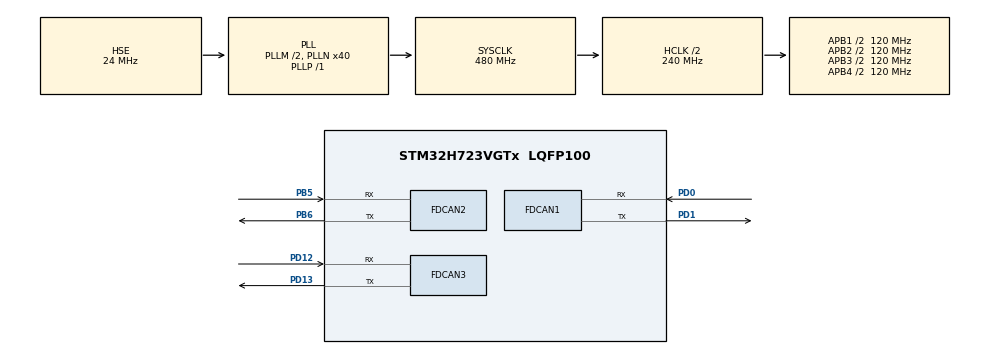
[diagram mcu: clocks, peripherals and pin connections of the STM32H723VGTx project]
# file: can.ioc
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CORTEX_M7.default_mode_Activation=1
FDCAN1.CalculateBaudRateNominal=1000000
FDCAN1.CalculateTimeBitNominal=1000
FDCAN1.CalculateTimeQuantumNominal=50.0
FDCAN1.ExtFiltersNbr=0
FDCAN1.Mode=FDCAN_MODE_NORMAL
FDCAN1.NominalPrescaler=4
FDCAN1.NominalTimeSeg1=14
FDCAN1.NominalTimeSeg2=5
FDCAN1.RxFifo0ElmtsNbr=8
FDCAN1.StdFiltersNbr=3
FDCAN1.TxFifoQueueElmtsNbr=8
FDCAN2.CalculateBaudRateNominal=1000000
FDCAN2.CalculateTimeBitNominal=1000
FDCAN2.CalculateTimeQuantumNominal=50.0
FDCAN2.ExtFiltersNbr=0
FDCAN2.NominalPrescaler=4
FDCAN2.NominalTimeSeg1=14
FDCAN2.NominalTimeSeg2=5
FDCAN2.RxFifo0ElmtsNbr=8
FDCAN2.StdFiltersNbr=3
FDCAN2.TxFifoQueueElmtsNbr=8
FDCAN3.CalculateBaudRateNominal=1000000
FDCAN3.CalculateTimeBitNominal=1000
FDCAN3.CalculateTimeQuantumNominal=50.0
FDCAN3.ExtFiltersNbr=0
FDCAN3.NominalPrescaler=4
FDCAN3.NominalTimeSeg1=14
FDCAN3.NominalTimeSeg2=5
FDCAN3.RxFifo0ElmtsNbr=8
FDCAN3.StdFiltersNbr=3
FDCAN3.TxFifoQueueElmtsNbr=8
Mcu.Family=STM32H7
Mcu.Name=STM32H723VGTx
Mcu.Package=LQFP100
NVIC.FDCAN1_IT0_IRQn=true\:0\:0\:false\:false\:true\:true\:true\:true
NVIC.FDCAN2_IT0_IRQn=true\:0\:0\:false\:false\:true\:true\:true\:true
NVIC.FDCAN3_IT0_IRQn=true\:0\:0\:false\:false\:true\:true\:true\:true
NVIC.PriorityGroup=NVIC_PRIORITYGROUP_4
NVIC.TIM6_DAC_IRQn=true\:0\:0\:false\:false\:true\:true\:true\:true
PA13(JTMS/SWDIO).Mode=Serial_Wire
PA13(JTMS/SWDIO).Signal=DEBUG_JTMS-SWDIO
PA14(JTCK/SWCLK).Mode=Serial_Wire
PA14(JTCK/SWCLK).Signal=DEBUG_JTCK-SWCLK
PB5.Mode=FDCAN_Activate
PB5.Signal=FDCAN2_RX
PB6.Mode=FDCAN_Activate
PB6.Signal=FDCAN2_TX
PD0.Mode=FDCAN_Activate
PD0.Signal=FDCAN1_RX
PD1.Mode=FDCAN_Activate
PD1.Signal=FDCAN1_TX
PD12.Mode=FDCAN_Activate
PD12.Signal=FDCAN3_RX
PD13.Mode=FDCAN_Activate
PD13.Signal=FDCAN3_TX
PH0-OSC_IN.Mode=HSE-External-Oscillator
PH0-OSC_IN.Signal=RCC_OSC_IN
PH1-OSC_OUT.Mode=HSE-External-Oscillator
PH1-OSC_OUT.Signal=RCC_OSC_OUT
ProjectManager.HeapSize=0x200
ProjectManager.StackSize=0x400
ProjectManager.TargetToolchain=MDK-ARM V5.32
RCC.ADCFreq_Value=48375000
RCC.APB1Freq_Value=120000000
RCC.APB2Freq_Value=120000000
RCC.APB3Freq_Value=120000000
RCC.APB4Freq_Value=120000000
RCC.CortexFreq_Value=480000000
RCC.D1PPRE=RCC_APB3_DIV2
RCC.D2PPRE1=RCC_APB1_DIV2
RCC.D2PPRE2=RCC_APB2_DIV2
RCC.D3PPRE=RCC_APB4_DIV2
RCC.DIVM1=2
RCC.DIVN1=40
RCC.DIVP1=1
RCC.DIVQ1=6
RCC.HCLKFreq_Value=240000000
RCC.HPRE=RCC_HCLK_DIV2
RCC.HSE_VALUE=24000000
RCC.PLLFRACN=0
RCC.PLLSourceVirtual=RCC_PLLSOURCE_HSE
RCC.SYSCLKFreq_VALUE=480000000
RCC.SYSCLKSource=RCC_SYSCLKSOURCE_PLLCLK
RCC.USBFreq_Value=80000000
TIM6.Period=999
TIM6.Prescaler=239
VP_MEMORYMAP_VS_MEMORYMAP.Mode=CurAppReg
VP_TIM6_VS_ClockSourceINT.Mode=Enable_Timer
board=custom

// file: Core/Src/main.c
/* USER CODE BEGIN Header */
/**
  ******************************************************************************
  * @file           : main.c
  * @brief          : Main program body
  ******************************************************************************
  * @attention
  *
  * Copyright (c) 2026 STMicroelectronics.
  * All rights reserved.
  *
  * This software is licensed under terms that can be found in the LICENSE file
  * in the root directory of this software component.
  * If no LICENSE file comes with this software, it is provided AS-IS.
  *
  ******************************************************************************
  */
/* USER CODE END Header */
#include "main.h"

/* USER CODE BEGIN Includes */
#include "pid_speed/pid_speed.h"
#include "pid_angle/pid_angle.h"

/* USER CODE END Includes */

/* USER CODE BEGIN PTD */
typedef struct{
  int8_t temperature;
  int16_t iq;
  int16_t speed;
  int16_t encoder;
  uint8_t cmd_echo;
}LingKong_Motor_t;

typedef struct{
  uint16_t angle;
  int16_t speed_rpm;
  int16_t current;
  uint8_t temperature;
}RM3508_Feedback_t;

/* PID 结构体已移到 pid_speed/pid_speed.h 和 pid_angle/pid_angle.h */
/* USER CODE END PTD */

/* USER CODE BEGIN PD */
/* 电机 ID - 1：ID1 用 0，ID2 用 1，ID3 用 2 */
#define MOTOR_INDEX   0U

/* PID 模式：只调用一路，避免角度环和速度环同时抢 motor_target_current。
   PID_MODE_ANGLE：角度环 -> 速度环 串级
   PID_MODE_SPEED：只用速度环，目标转速是 g_target_rpm */
#define PID_MODE_ANGLE   1
#define PID_MODE_SPEED   2
#define PID_MODE         PID_MODE_SPEED

/* ---- 目标设定：只改这里 ---- */
#define TARGET_ANGLE_DEG   0.0f      /* 角度模式目标：转子角度 deg（0~360） */
#define TARGET_SPEED_RPM   1000.0f   /* 速度模式目标：转子 rpm */
/* USER CODE END PD */

FDCAN_HandleTypeDef hfdcan1;
FDCAN_HandleTypeDef hfdcan2;
FDCAN_HandleTypeDef hfdcan3;

TIM_HandleTypeDef htim6;

/* USER CODE BEGIN PV */
FDCAN_HandleTypeDef hfdcan1;
FDCAN_HandleTypeDef hfdcan2;
FDCAN_HandleTypeDef hfdcan3;

TIM_HandleTypeDef htim6;

LingKong_Motor_t motor1,motor2,motor3;
RM3508_Feedback_t motor_fb[3];

/* 目标变量：定义在主程序，pid_angle/pid_speed 通过 extern 使用 */
volatile float    g_target_deg = TARGET_ANGLE_DEG; /* 角度模式目标 deg */
volatile float    g_target_rpm = TARGET_SPEED_RPM; /* 速度模式目标 rpm */

volatile uint32_t g_fb_tick = 0;       /* 最近一次收到 0x201 的时刻 */
volatile uint8_t  g_fb_valid = 0;      /* 收到过反馈才允许起环 */

int16_t motor_target_current[4] = {0,0,0,0};

/* USER CODE END PV */

void SystemClock_Config(void);
static void MPU_Config(void);
static void MX_GPIO_Init(void);
static void MX_FDCAN1_Init(void);
static void MX_FDCAN2_Init(void);
static void MX_FDCAN3_Init(void);
static void MX_TIM6_Init(void);
/* USER CODE BEGIN PFP */
void fdcan_init(FDCAN_FilterTypeDef *fdcan_filter,FDCAN_HandleTypeDef *hfdcan);
void fdcan_filter_init(void);
void LingKong_Send_Cmd(FDCAN_HandleTypeDef *hfdcan,uint8_t motor_id,uint8_t cmd,int32_t value);
void RM3508_Send_All(FDCAN_HandleTypeDef *hfdcan);
void HAL_FDCAN_RxFifo0Callback(FDCAN_HandleTypeDef *hfdcan, uint32_t RxFifo0ITs);

/* USER CODE END PFP */

int main(void)
{

  /* MPU Configuration--------------------------------------------------------*/
  MPU_Config();

  /* MCU Configuration--------------------------------------------------------*/

  /* Reset of all peripherals, Initializes the Flash interface and the Systick. */
  HAL_Init();

  /* Configure the system clock */
  SystemClock_Config();

  /* Initialize all configured peripherals */
  MX_GPIO_Init();
  MX_FDCAN1_Init();
  MX_FDCAN2_Init();
  MX_FDCAN3_Init();
  MX_TIM6_Init();
  /* USER CODE BEGIN 2 */
  /* ---- 目标设定：角度模式用 g_target_deg，速度模式用 g_target_rpm ---- */
  g_target_deg = TARGET_ANGLE_DEG;
  g_target_rpm = TARGET_SPEED_RPM;

  SpeedPID_Init(&g_pid);
#if (PID_MODE == PID_MODE_ANGLE)
  AnglePID_Init(&g_angle_pid);
#endif
  fdcan_filter_init();
  HAL_TIM_Base_Start_IT(&htim6);
  RM3508_Send_All(&hfdcan1);
  RM3508_Send_All(&hfdcan2);
  RM3508_Send_All(&hfdcan3);

  /* USER CODE END 2 */

  /* Infinite loop */
  while (1)
  {

    /* USER CODE BEGIN 3 */
    /* 速度环在 TIM6 中断里运行，主循环留空 */
  }
  /* USER CODE END 3 */
}

void SystemClock_Config(void)
{
  RCC_OscInitTypeDef RCC_OscInitStruct = {0};
  RCC_ClkInitTypeDef RCC_ClkInitStruct = {0};

  /** Supply configuration update enable
  */
  HAL_PWREx_ConfigSupply(PWR_LDO_SUPPLY);

  /** Configure the main internal regulator output voltage
  */
  __HAL_PWR_VOLTAGESCALING_CONFIG(PWR_REGULATOR_VOLTAGE_SCALE0);

  while(!__HAL_PWR_GET_FLAG(PWR_FLAG_VOSRDY)) {}

  /** Initializes the RCC Oscillators according to the specified parameters
  * in the RCC_OscInitTypeDef structure.
  */
  RCC_OscInitStruct.OscillatorType = RCC_OSCILLATORTYPE_HSE;
  RCC_OscInitStruct.HSEState = RCC_HSE_ON;
  RCC_OscInitStruct.PLL.PLLState = RCC_PLL_ON;
  RCC_OscInitStruct.PLL.PLLSource = RCC_PLLSOURCE_HSE;
  RCC_OscInitStruct.PLL.PLLM = 2;
  RCC_OscInitStruct.PLL.PLLN = 40;
  RCC_OscInitStruct.PLL.PLLP = 1;
  RCC_OscInitStruct.PLL.PLLQ = 6;
  RCC_OscInitStruct.PLL.PLLR = 2;
  RCC_OscInitStruct.PLL.PLLRGE = RCC_PLL1VCIRANGE_3;
  RCC_OscInitStruct.PLL.PLLVCOSEL = RCC_PLL1VCOWIDE;
  RCC_OscInitStruct.PLL.PLLFRACN = 0;
  if (HAL_RCC_OscConfig(&RCC_OscInitStruct) != HAL_OK)
  {
    Error_Handler();
  }

  /** Initializes the CPU, AHB and APB buses clocks
  */
  RCC_ClkInitStruct.ClockType = RCC_CLOCKTYPE_HCLK|RCC_CLOCKTYPE_SYSCLK
                              |RCC_CLOCKTYPE_PCLK1|RCC_CLOCKTYPE_PCLK2
                              |RCC_CLOCKTYPE_D3PCLK1|RCC_CLOCKTYPE_D1PCLK1;
  RCC_ClkInitStruct.SYSCLKSource = RCC_SYSCLKSOURCE_PLLCLK;
  RCC_ClkInitStruct.SYSCLKDivider = RCC_SYSCLK_DIV1;
  RCC_ClkInitStruct.AHBCLKDivider = RCC_HCLK_DIV2;
  RCC_ClkInitStruct.APB3CLKDivider = RCC_APB3_DIV2;
  RCC_ClkInitStruct.APB1CLKDivider = RCC_APB1_DIV2;
  RCC_ClkInitStruct.APB2CLKDivider = RCC_APB2_DIV2;
  RCC_ClkInitStruct.APB4CLKDivider = RCC_APB4_DIV2;

  if (HAL_RCC_ClockConfig(&RCC_ClkInitStruct, FLASH_LATENCY_3) != HAL_OK)
  {
    Error_Handler();
  }
}

static void MX_FDCAN1_Init(void)
{

  hfdcan1.Instance = FDCAN1;
  hfdcan1.Init.FrameFormat = FDCAN_FRAME_CLASSIC;
  hfdcan1.Init.Mode = FDCAN_MODE_NORMAL;
  hfdcan1.Init.AutoRetransmission = DISABLE;
  hfdcan1.Init.TransmitPause = DISABLE;
  hfdcan1.Init.ProtocolException = DISABLE;
  hfdcan1.Init.NominalPrescaler = 4;
  hfdcan1.Init.NominalSyncJumpWidth = 1;
  hfdcan1.Init.NominalTimeSeg1 = 14;
  hfdcan1.Init.NominalTimeSeg2 = 5;
  hfdcan1.Init.DataPrescaler = 1;
  hfdcan1.Init.DataSyncJumpWidth = 1;
  hfdcan1.Init.DataTimeSeg1 = 1;
  hfdcan1.Init.DataTimeSeg2 = 1;
  hfdcan1.Init.MessageRAMOffset = 0;
  hfdcan1.Init.StdFiltersNbr = 3;
  hfdcan1.Init.ExtFiltersNbr = 0;
  hfdcan1.Init.RxFifo0ElmtsNbr = 8;
  hfdcan1.Init.RxFifo0ElmtSize = FDCAN_DATA_BYTES_8;
  hfdcan1.Init.RxFifo1ElmtsNbr = 0;
  hfdcan1.Init.RxFifo1ElmtSize = FDCAN_DATA_BYTES_8;
  hfdcan1.Init.RxBuffersNbr = 0;
  hfdcan1.Init.RxBufferSize = FDCAN_DATA_BYTES_8;
  hfdcan1.Init.TxEventsNbr = 0;
  hfdcan1.Init.TxBuffersNbr = 0;
  hfdcan1.Init.TxFifoQueueElmtsNbr = 8;
  hfdcan1.Init.TxFifoQueueMode = FDCAN_TX_FIFO_OPERATION;
  hfdcan1.Init.TxElmtSize = FDCAN_DATA_BYTES_8;
  if (HAL_FDCAN_Init(&hfdcan1) != HAL_OK)
  {
    Error_Handler();
  }

}

static void MX_FDCAN2_Init(void)
{

  hfdcan2.Instance = FDCAN2;
  hfdcan2.Init.FrameFormat = FDCAN_FRAME_CLASSIC;
  hfdcan2.Init.Mode = FDCAN_MODE_NORMAL;
  hfdcan2.Init.AutoRetransmission = DISABLE;
  hfdcan2.Init.TransmitPause = DISABLE;
  hfdcan2.Init.ProtocolException = DISABLE;
  hfdcan2.Init.NominalPrescaler = 4;
  hfdcan2.Init.NominalSyncJumpWidth = 1;
  hfdcan2.Init.NominalTimeSeg1 = 14;
  hfdcan2.Init.NominalTimeSeg2 = 5;
  hfdcan2.Init.DataPrescaler = 1;
  hfdcan2.Init.DataSyncJumpWidth = 1;
  hfdcan2.Init.DataTimeSeg1 = 1;
  hfdcan2.Init.DataTimeSeg2 = 1;
  hfdcan2.Init.MessageRAMOffset = 0;
  hfdcan2.Init.StdFiltersNbr = 3;
  hfdcan2.Init.ExtFiltersNbr = 0;
  hfdcan2.Init.RxFifo0ElmtsNbr = 8;
  hfdcan2.Init.RxFifo0ElmtSize = FDCAN_DATA_BYTES_8;
  hfdcan2.Init.RxFifo1ElmtsNbr = 0;
  hfdcan2.Init.RxFifo1ElmtSize = FDCAN_DATA_BYTES_8;
  hfdcan2.Init.RxBuffersNbr = 0;
  hfdcan2.Init.RxBufferSize = FDCAN_DATA_BYTES_8;
  hfdcan2.Init.TxEventsNbr = 0;
  hfdcan2.Init.TxBuffersNbr = 0;
  hfdcan2.Init.TxFifoQueueElmtsNbr = 8;
  hfdcan2.Init.TxFifoQueueMode = FDCAN_TX_FIFO_OPERATION;
  hfdcan2.Init.TxElmtSize = FDCAN_DATA_BYTES_8;
  if (HAL_FDCAN_Init(&hfdcan2) != HAL_OK)
  {
    Error_Handler();
  }

}

static void MX_FDCAN3_Init(void)
{

  hfdcan3.Instance = FDCAN3;
  hfdcan3.Init.FrameFormat = FDCAN_FRAME_CLASSIC;
  hfdcan3.Init.Mode = FDCAN_MODE_NORMAL;
  hfdcan3.Init.AutoRetransmission = DISABLE;
  hfdcan3.Init.TransmitPause = DISABLE;
  hfdcan3.Init.ProtocolException = DISABLE;
  hfdcan3.Init.NominalPrescaler = 4;
  hfdcan3.Init.NominalSyncJumpWidth = 1;
  hfdcan3.Init.NominalTimeSeg1 = 14;
  hfdcan3.Init.NominalTimeSeg2 = 5;
  hfdcan3.Init.DataPrescaler = 1;
  hfdcan3.Init.DataSyncJumpWidth = 1;
  hfdcan3.Init.DataTimeSeg1 = 1;
  hfdcan3.Init.DataTimeSeg2 = 1;
  hfdcan3.Init.MessageRAMOffset = 0;
  hfdcan3.Init.StdFiltersNbr = 3;
  hfdcan3.Init.ExtFiltersNbr = 0;
  hfdcan3.Init.RxFifo0ElmtsNbr = 8;
  hfdcan3.Init.RxFifo0ElmtSize = FDCAN_DATA_BYTES_8;
  hfdcan3.Init.RxFifo1ElmtsNbr = 0;
  hfdcan3.Init.RxFifo1ElmtSize = FDCAN_DATA_BYTES_8;
  hfdcan3.Init.RxBuffersNbr = 0;
  hfdcan3.Init.RxBufferSize = FDCAN_DATA_BYTES_8;
  hfdcan3.Init.TxEventsNbr = 0;
  hfdcan3.Init.TxBuffersNbr = 0;
  hfdcan3.Init.TxFifoQueueElmtsNbr = 8;
  hfdcan3.Init.TxFifoQueueMode = FDCAN_TX_FIFO_OPERATION;
  hfdcan3.Init.TxElmtSize = FDCAN_DATA_BYTES_8;
  if (HAL_FDCAN_Init(&hfdcan3) != HAL_OK)
  {
    Error_Handler();
  }

}

static void MX_TIM6_Init(void)
{

  TIM_MasterConfigTypeDef sMasterConfig = {0};

  htim6.Instance = TIM6;
  htim6.Init.Prescaler = 239;
  htim6.Init.CounterMode = TIM_COUNTERMODE_UP;
  htim6.Init.Period = 999;
  htim6.Init.AutoReloadPreload = TIM_AUTORELOAD_PRELOAD_DISABLE;
  if (HAL_TIM_Base_Init(&htim6) != HAL_OK)
  {
    Error_Handler();
  }
  sMasterConfig.MasterOutputTrigger = TIM_TRGO_RESET;
  sMasterConfig.MasterSlaveMode = TIM_MASTERSLAVEMODE_DISABLE;
  if (HAL_TIMEx_MasterConfigSynchronization(&htim6, &sMasterConfig) != HAL_OK)
  {
    Error_Handler();
  }

}

static void MX_GPIO_Init(void)
{

  /* GPIO Ports Clock Enable */
  __HAL_RCC_GPIOH_CLK_ENABLE();
  __HAL_RCC_GPIOD_CLK_ENABLE();
  __HAL_RCC_GPIOA_CLK_ENABLE();
  __HAL_RCC_GPIOB_CLK_ENABLE();

}

/* USER CODE BEGIN 4 */
void fdcan_init(FDCAN_FilterTypeDef *fdcan_filter,FDCAN_HandleTypeDef *hfdcan){
  if (HAL_FDCAN_ConfigFilter(hfdcan, fdcan_filter) != HAL_OK){
    Error_Handler();
  }
  if (HAL_FDCAN_Start(hfdcan) != HAL_OK){
    Error_Handler();
  }
  if (HAL_FDCAN_ActivateNotification(hfdcan, FDCAN_IT_RX_FIFO0_NEW_MESSAGE, 0) != HAL_OK){
    Error_Handler();
  }
}
void fdcan_filter_init(void){
  FDCAN_FilterTypeDef fdcan_filter_st = {0};

  fdcan_filter_st.IdType = FDCAN_STANDARD_ID;   /* 蹇呴』璁撅紒鍚﹀垯浼氭寜闅忔満鍊艰蛋鎵╁睍甯у垎鏀?*/
  fdcan_filter_st.FilterType = FDCAN_FILTER_MASK;
  fdcan_filter_st.FilterID1 = 0x0000;
  fdcan_filter_st.FilterID2 = 0x0000;
  fdcan_filter_st.FilterConfig = FDCAN_FILTER_TO_RXFIFO0;

  fdcan_filter_st.FilterIndex = 0;
  fdcan_init(&fdcan_filter_st,&hfdcan1);
  fdcan_filter_st.FilterIndex = 1;
  fdcan_init(&fdcan_filter_st,&hfdcan2);
  fdcan_filter_st.FilterIndex = 2;
  fdcan_init(&fdcan_filter_st,&hfdcan3);
}

void LingKong_Send_Cmd(FDCAN_HandleTypeDef *hfdcan,uint8_t motor_id,uint8_t cmd,int32_t value){
  FDCAN_TxHeaderTypeDef TxHeader;
  uint8_t TxData[8];

  TxHeader.Identifier = 0x140+motor_id; // Set the identifier based on the motor ID
  TxHeader.IdType = FDCAN_STANDARD_ID;
  TxHeader.TxFrameType = FDCAN_DATA_FRAME;
  TxHeader.DataLength = FDCAN_DLC_BYTES_8;
  TxHeader.ErrorStateIndicator = FDCAN_ESI_ACTIVE;
  TxHeader.BitRateSwitch = FDCAN_BRS_OFF;
  TxHeader.FDFormat = FDCAN_CLASSIC_CAN;
  TxHeader.TxEventFifoControl = FDCAN_NO_TX_EVENTS;
  TxHeader.MessageMarker = 0;

  TxData[0] = cmd; // Command byte

  switch (cmd){
    case 0xA1:
      TxData[4] = (uint8_t)(value & 0xFF); // low byte
      TxData[5] = (uint8_t)((value >> 8) & 0xFF); // high byte
			break;

    case 0xA2:
      TxData[4] = (uint8_t)(value & 0xFF); // low byte
      TxData[5] = (uint8_t)((value >> 8) & 0xFF); // high byte
      TxData[6] = (uint8_t)((value >> 16) & 0xFF); // high byte
      TxData[7] = (uint8_t)((value >> 24) & 0xFF); // high byte
      break;
  }

  HAL_FDCAN_AddMessageToTxFifoQ(hfdcan, &TxHeader, TxData);
}
void RM3508_Send_All(FDCAN_HandleTypeDef *hfdcan){
  FDCAN_TxHeaderTypeDef TxHeader;
  uint8_t TxData[8] = {0};

  TxHeader.Identifier = 0x200;
  TxHeader.IdType = FDCAN_STANDARD_ID;
  TxHeader.TxFrameType = FDCAN_DATA_FRAME;
  TxHeader.DataLength = FDCAN_DLC_BYTES_8;
  TxHeader.ErrorStateIndicator = FDCAN_ESI_ACTIVE;
  TxHeader.BitRateSwitch = FDCAN_BRS_OFF;
  TxHeader.FDFormat = FDCAN_CLASSIC_CAN;
  TxHeader.TxEventFifoControl = FDCAN_NO_TX_EVENTS;
  TxHeader.MessageMarker = 0;

  for (int i=0;i<3;i++){
    TxData[2*i] = (uint8_t)((motor_target_current[i]>>8)&0xFF);
    TxData[2*i+1] = (uint8_t)(motor_target_current[i] & 0xFF);
  }

  HAL_FDCAN_AddMessageToTxFifoQ(hfdcan, &TxHeader, TxData);

}

void HAL_FDCAN_RxFifo0Callback(FDCAN_HandleTypeDef *hfdcan, uint32_t RxFifo0ITs){
  FDCAN_RxHeaderTypeDef RxHeader;
  uint8_t RxData[8];

  if ((RxFifo0ITs & FDCAN_IT_RX_FIFO0_NEW_MESSAGE) != RESET){
    if (HAL_FDCAN_GetRxMessage(hfdcan, FDCAN_RX_FIFO0 ,&RxHeader,RxData)==HAL_OK){
      if (RxHeader.Identifier >= 0x201 && RxHeader.Identifier <= 0x203){
        uint8_t index = RxHeader.Identifier - 0x201;

        motor_fb[index].angle = (uint16_t)((RxData[0]<<8)|RxData[1]);
        motor_fb[index].speed_rpm = (int16_t)((RxData[2]<<8) | RxData[3]);
        motor_fb[index].current = (int16_t)((RxData[4]<<8)|RxData[5]);
        motor_fb[index].temperature = RxData[6];

        if (index == (uint8_t)MOTOR_INDEX){
          g_fb_tick = HAL_GetTick();
          g_fb_valid = 1U;
        }
      }
    }
  }
}

void HAL_TIM_PeriodElapsedCallback(TIM_HandleTypeDef *htim){
  if (htim->Instance == TIM6){
    const float dt = 0.002f;   /* TIM6 2ms，500Hz */

    if ((g_fb_valid == 0U) || ((HAL_GetTick() - g_fb_tick) > 100U)){
      /* 100ms 没收到 0x201：电调掉线，两个环都清零 */
      g_angle_pid.integral = 0.0f;
      g_angle_pid.out_rpm = 0.0f;
      g_pid.out = 0.0f;
      g_pid.integral = 0.0f;
      g_pid.target_ramp = 0.0f;
    } else {
#if (PID_MODE == PID_MODE_ANGLE)
      /* 串级：角度环算目标转速 -> 速度环算电流 */
      PID_Angle_Control(Encoder_To_Deg(motor_fb[MOTOR_INDEX].angle),
                        (float)motor_fb[MOTOR_INDEX].speed_rpm * 6.0f,
                        (float)motor_fb[MOTOR_INDEX].speed_rpm,
                        dt);
#else
      /* 单独速度环：目标转速 g_target_rpm */
      PID_Speed_Control((float)motor_fb[MOTOR_INDEX].speed_rpm, dt);
#endif
    }

    motor_target_current[0] = 0;
    motor_target_current[1] = 0;
    motor_target_current[2] = 0;
    motor_target_current[MOTOR_INDEX] = (int16_t)g_pid.out;

    RM3508_Send_All(&hfdcan1);
    RM3508_Send_All(&hfdcan2);
    RM3508_Send_All(&hfdcan3);
  }
}

/* USER CODE END 4 */

 /* MPU Configuration */

void MPU_Config(void)
{
  MPU_Region_InitTypeDef MPU_InitStruct = {0};

  /* Disables the MPU */
  HAL_MPU_Disable();

  /** Initializes and configures the Region and the memory to be protected
  */
  MPU_InitStruct.Enable = MPU_REGION_ENABLE;
  MPU_InitStruct.Number = MPU_REGION_NUMBER0;
  MPU_InitStruct.BaseAddress = 0x0;
  MPU_InitStruct.Size = MPU_REGION_SIZE_4GB;
  MPU_InitStruct.SubRegionDisable = 0x87;
  MPU_InitStruct.TypeExtField = MPU_TEX_LEVEL0;
  MPU_InitStruct.AccessPermission = MPU_REGION_NO_ACCESS;
  MPU_InitStruct.DisableExec = MPU_INSTRUCTION_ACCESS_DISABLE;
  MPU_InitStruct.IsShareable = MPU_ACCESS_SHAREABLE;
  MPU_InitStruct.IsCacheable = MPU_ACCESS_NOT_CACHEABLE;
  MPU_InitStruct.IsBufferable = MPU_ACCESS_NOT_BUFFERABLE;

  HAL_MPU_ConfigRegion(&MPU_InitStruct);
  /* Enables the MPU */
  HAL_MPU_Enable(MPU_PRIVILEGED_DEFAULT);

}

void Error_Handler(void)
{
  __disable_irq();
  while (1)
  {
  }
}
